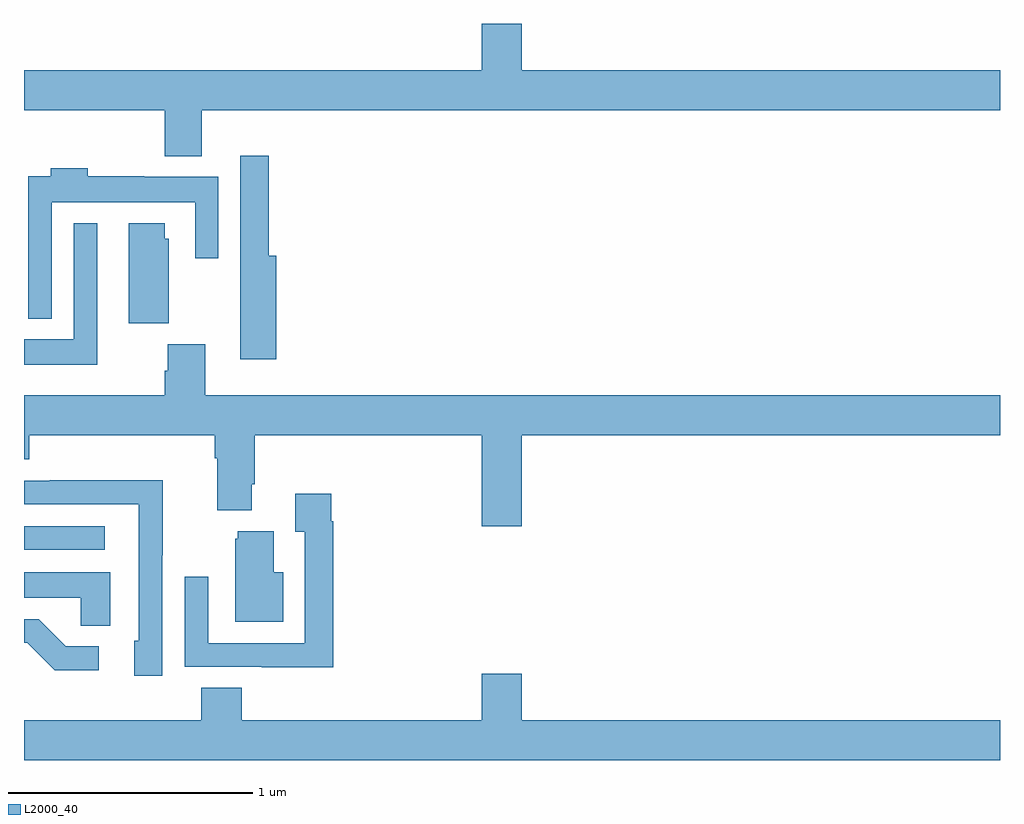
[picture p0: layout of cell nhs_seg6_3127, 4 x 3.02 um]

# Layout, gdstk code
import gdstk
lib = gdstk.Library(unit=1e-6, precision=1e-09)
def R(c, l, rs):  # rectangles x0, y0, x1, y1
    for r in rs: c.add(gdstk.rectangle(r[:2], r[2:], *l))
def P(c, l, *ps):  # polygons
    for p in ps: c.add(gdstk.Polygon(p, *l))
L2000_40 = (2000, 40)

nhs_seg6_3127 = lib.new_cell('nhs_seg6_3127')
R(nhs_seg6_3127, L2000_40, [(295,950.862,295.33,950.958)])
P(nhs_seg6_3127, L2000_40, [(295.729,952.664),(299,952.664),(299,952.828),(297.04,952.828),(297.04,953.017),(296.876,953.017),(296.876,952.828),(295,952.828),(295,952.664),(295.577,952.664),(295.577,952.475),(295.729,952.475)],
  [(296.033,952.066),(296.003,952.066),(296.003,952.477),(295.887,952.477),(295.887,951.962),(295.886,951.962),(295.886,951.642),(296.033,951.642)],
  [(295.113,952.286),(295.701,952.286),(295.701,952.056),(295.797,952.056),(295.797,952.39),(295.493,952.39),(295.493,952.393),(295.262,952.393),(295.262,952.426),(295.109,952.426),(295.109,952.393),(295.017,952.393),(295.017,951.809),(295.113,951.809)],
  [(295.594,952.137),(295.576,952.137),(295.576,952.201),(295.43,952.201),(295.43,951.79),(295.594,951.79)],
  [(295.3,952.201),(295.203,952.201),(295.203,951.724),(295,951.724),(295,951.62),(295.3,951.62)],
  [(295.781,951.236),(295.793,951.236),(295.793,951.023),(295.933,951.023),(295.933,951.13),(295.946,951.13),(295.946,951.332),(296.876,951.332),(296.876,950.958),(297.04,950.958),(297.04,951.332),(299,951.332),(299,951.496),(295.742,951.496),(295.742,951.705),(295.589,951.705),(295.589,951.596),(295.577,951.596),(295.577,951.496),(295,951.496),(295,951.233),(295.022,951.233),(295.022,951.332),(295.781,951.332)],
  [(295.566,950.839),(295.569,950.839),(295.569,951.146),(295.105,951.146),(295.105,951.144),(295,951.144),(295,951.048),(295.47,951.048),(295.47,950.49),(295.451,950.49),(295.451,950.346),(295.566,950.346)],
  [(296.267,950.978),(296.26,950.978),(296.26,951.091),(296.111,951.091),(296.111,950.935),(296.151,950.935),(296.151,950.478),(295.755,950.478),(295.755,950.752),(295.659,950.752),(295.659,950.382),(295.975,950.382),(295.975,950.381),(296.267,950.381)],
  [(296.062,950.77),(296.023,950.77),(296.023,950.938),(295.877,950.938),(295.877,950.907),(295.865,950.907),(295.865,950.567),(296.062,950.567)],
  [(295.354,950.77),(295,950.77),(295,950.666),(295.233,950.666),(295.233,950.551),(295.354,950.551)],
  [(295.306,950.466),(295.171,950.466),(295.06,950.577),(295,950.577),(295,950.481),(295.014,950.481),(295.127,950.369),(295.306,950.369)],
  [(299,950.164),(297.04,950.164),(297.04,950.353),(296.876,950.353),(296.876,950.164),(295.892,950.164),(295.892,950.297),(295.727,950.297),(295.727,950.164),(295,950.164),(295,950),(299,950)])

lib.write_gds('nhs_seg6_3127.gds')
